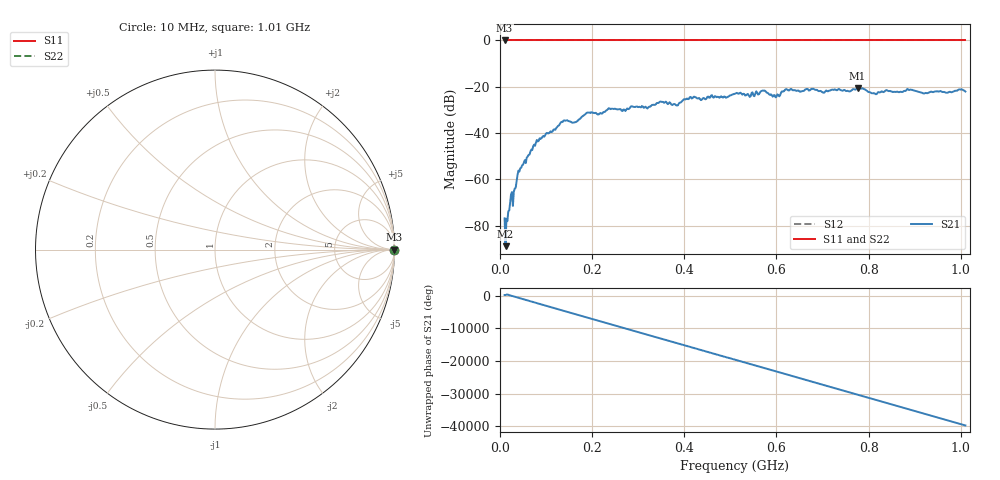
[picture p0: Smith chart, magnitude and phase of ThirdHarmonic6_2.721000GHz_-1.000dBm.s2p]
! 8/17/2025 6:38:12 AM
! C:\ANRITSUVNA\TEMP\TEMP.S2P
! CHANNEL.1
! TR.MEASUREMENT
! RAW.DATA
! RF.CORRECTION.OFF
! AVERAGING.OFF
! IF.BANDWIDTH: 5KHZ
! SWEEPTYPE:  FREQ.SWEEP(Linear)
! Reference Plane Port Info
! PORT:  PORT1  PORT2
! DISTANCE:  0  m  0  m
! TIME:  0  s  0  s
! PHASE.OFFSET:  0  deg.  0  deg.
! LOSS:  0  dB  0  dB
! REF.LOSS:  0  dB  0  dB
! REF.FREQ:  0  Hz  0  Hz
! Power Info
! POWER:  -20  dBm  -20  dBm
! EFF.POWER:  -20  dBm  -20  dBm
! SOURCE.ATTEN:  0  dB  0  dB
! TEST.ATTEN:  0  dB  0  dB
# GHZ S RI R 50.0
! FREQ.GHZ  S11RE  S11IM  S21RE  S21IM  S12RE  S12IM  S22RE  S22IM
!; PortSelection: Port_12
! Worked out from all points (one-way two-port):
!   501 points, 10 MHz to 1.01 GHz, reference 50 ohm
!   highest |S21| = -20.55 dB at 776 MHz (marker M1); lowest = -88.9 dB at 12 MHz (marker M2)
!   lowest |S11| = 0.0 dB at 10 MHz (marker M3)
!   |S11| at or under -10 dB: nowhere
!   |S22| runs from 0.0 to 0.0 dB; largest |S21 - S12| = 1.1
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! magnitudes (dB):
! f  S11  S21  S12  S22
! 10 MHz  0.0  -76.9  0.0  0.0
! 12 MHz  0.0  -88.9  0.0  0.0
! 16 MHz  0.0  -78.1  0.0  0.0
! 22 MHz  0.0  -70.1  0.0  0.0
! 32 MHz  0.0  -63.9  0.0  0.0
! 42 MHz  0.0  -56.6  0.0  0.0
! 76 MHz  0.0  -45.5  0.0  0.0
! 136 MHz  0.0  -35.2  0.0  0.0
! 162 MHz  0.0  -35.4  0.0  0.0
! 178 MHz  0.0  -32.9  0.0  0.0
! 344 MHz  0.0  -27.0  0.0  0.0
! 384 MHz  0.0  -28.1  0.0  0.0
! 416 MHz  0.0  -25.0  0.0  0.0
! 510 MHz  0.0  -23.0  0.0  0.0
! 572 MHz  0.0  -21.7  0.0  0.0
! 596 MHz  0.0  -23.6  0.0  0.0
! 620 MHz  0.0  -21.1  0.0  0.0
! 678 MHz  0.0  -20.9  0.0  0.0
! 776 MHz  0.0  -20.6  0.0  0.0
! 814 MHz  0.0  -23.0  0.0  0.0
! 844 MHz  0.0  -21.9  0.0  0.0
! 1.01 GHz  0.0  -22.1  0.0  0.0
